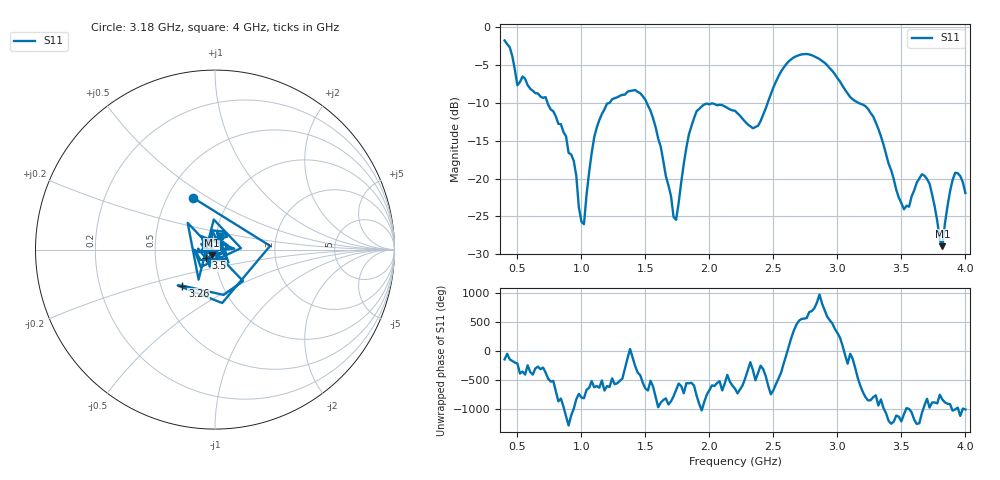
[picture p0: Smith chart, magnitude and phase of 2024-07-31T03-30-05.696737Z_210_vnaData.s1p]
!Created with skrf (http://scikit-rf.org).
# Hz S RI R 50.0
!freq ReS11 ImS11
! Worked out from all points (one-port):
!   181 points, 400 MHz to 4 GHz, reference 50 ohm
!   lowest |S11| = -28.9 dB at 3.82 GHz (marker M1), VSWR 1.07, Z = 48.2 - j3 ohm
!   |S11| at or under -10 dB: 735.4 MHz to 1.22 GHz (484.9 MHz wide, 49.6 % of centre); 1.511 GHz to 2.455 GHz (944.4 MHz wide, 47.6 % of centre); 3.165 GHz to end of sweep
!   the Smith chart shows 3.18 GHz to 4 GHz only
!   S11 on the Smith chart (normalised r, x): 3.18 GHz: 0.67, +0.43; 3.26 GHz: 0.65, -0.28; 3.5 GHz: 0.90, -0.08; 4 GHz: 1.05, +0.16
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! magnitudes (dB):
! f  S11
! 400 MHz  -1.7
! 500 MHz  -7.7
! 720 MHz  -9.2
! 860 MHz  -13.9
! 940 MHz  -17.7
! 980 MHz  -23.8
! 1.02 GHz  -26.0
! 1.12 GHz  -13.3
! 1.3 GHz  -9.1
! 1.5 GHz  -9.6
! 1.62 GHz  -15.8
! 1.72 GHz  -25.1
! 1.76 GHz  -23.2
! 1.84 GHz  -14.2
! 1.9 GHz  -11.1
! 2.2 GHz  -11.0
! 2.38 GHz  -13.0
! 2.66 GHz  -4.0
! 2.86 GHz  -4.2
! 3.1 GHz  -9.2
! 3.18 GHz  -10.1
! 3.26 GHz  -11.4
! 3.5 GHz  -23.2
! 3.56 GHz  -23.7
! 3.68 GHz  -19.6
! 3.82 GHz  -28.9
! 3.92 GHz  -19.2
! 4 GHz  -21.9
